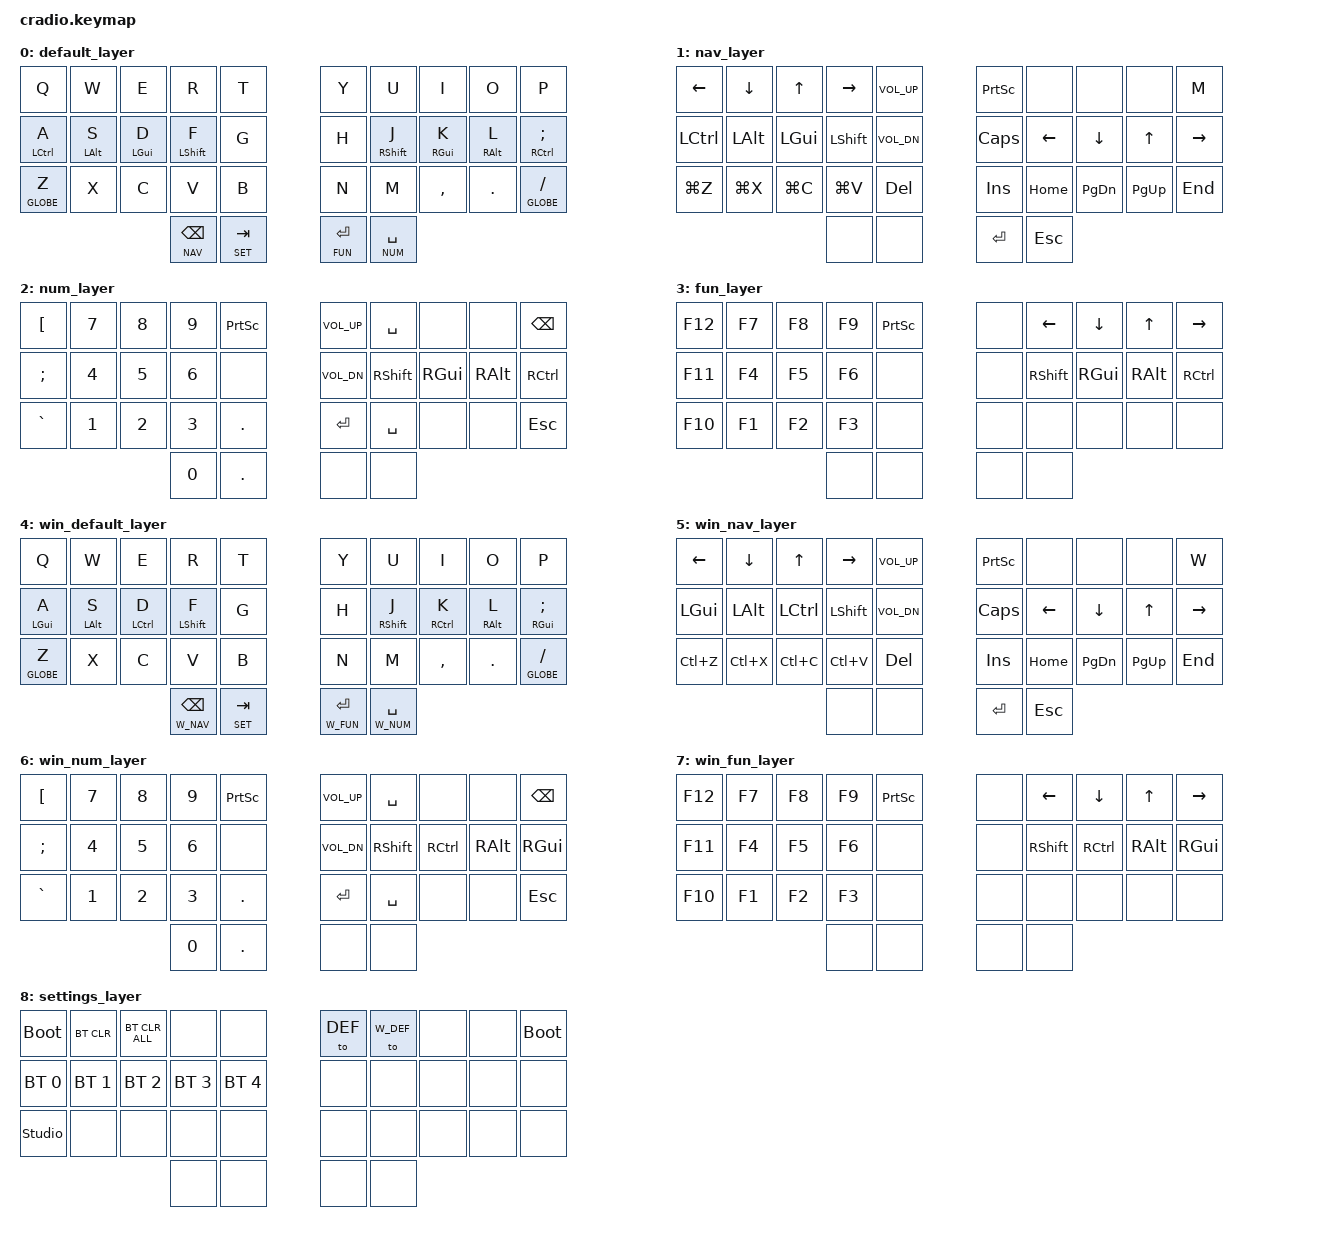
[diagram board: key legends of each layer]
// Copyright (c) 2022 The ZMK Contributors
// SPDX-License-Identifier: MIT

#include <behaviors.dtsi>
#include <dt-bindings/zmk/keys.h>
#include <dt-bindings/zmk/bt.h>
#include <dt-bindings/zmk/outputs.h>

// define layers

#define DEF 0
#define NAV 1
#define NUM 2
#define FUN 3

// windows layers
#define W_DEF 4
#define W_NAV 5
#define W_NUM 6
#define W_FUN 7

// settings layer
#define SET 8

&lt { quick-tap-ms = <219>; };
&mt { quick-tap-ms = <219>; };

/ {
    behaviors {
        hml: home_row_mod_left {
            compatible = "zmk,behavior-hold-tap";
            #binding-cells = <2>;
            flavor = "tap-preferred";
            require-prior-idle-ms = <100>;
            tapping-term-ms = <220>;
            quick-tap-ms = <150>;
            bindings = <&kp>, <&kp>;

            // List of keys on the right side of the keyboard
            hold-trigger-key-positions = <5 6 7 8 9 15 16 17 18 19 25 26 27 28 29 32 33 10 11 12 13 30 31>;
        };

        hmr: home_row_mod_right {
            compatible = "zmk,behavior-hold-tap";
            #binding-cells = <2>;
            flavor = "tap-preferred";
            require-prior-idle-ms = <100>;
            tapping-term-ms = <220>;
            quick-tap-ms = <150>;
            bindings = <&kp>, <&kp>;

            // List of keys on the left side of the keyboard
            hold-trigger-key-positions = <0 1 2 3 4 10 11 12 13 14 20 21 22 23 24 30 31 16 17 18 19 32 33>;
        };
    };

    combos {
        compatible = "zmk,combos";

        ParaLeft {
            bindings = <&kp LEFT_PARENTHESIS>;
            key-positions = <3 4>;
            timeout-ms = <25>;
        };

        ParaRight {
            bindings = <&kp RIGHT_PARENTHESIS>;
            key-positions = <5 6>;
            timeout-ms = <25>;
        };

        BrackLeft {
            bindings = <&kp LEFT_BRACKET>;
            key-positions = <13 14>;
            timeout-ms = <25>;
        };

        BrackRight {
            bindings = <&kp RIGHT_BRACKET>;
            key-positions = <15 16>;
            timeout-ms = <25>;
        };

        BraceLeft {
            bindings = <&kp LEFT_BRACE>;
            key-positions = <23 24>;
            timeout-ms = <25>;
        };

        BraceRight {
            bindings = <&kp RIGHT_BRACE>;
            key-positions = <25 26>;
            timeout-ms = <25>;
        };

        MinusSign {
            bindings = <&kp MINUS>;
            key-positions = <2 3>;
            timeout-ms = <25>;
        };

        PlusSign {
            bindings = <&kp PLUS>;
            key-positions = <1 2>;
            timeout-ms = <25>;
        };

        UnderscoreSign {
            bindings = <&kp UNDERSCORE>;
            key-positions = <1 3>;
            timeout-ms = <25>;
        };

        EqualSign {
            bindings = <&kp EQUAL>;
            key-positions = <1 2 3>;
            timeout-ms = <32>;
        };

        SingleQuote {
            bindings = <&kp SQT>;
            key-positions = <6 7>;
            timeout-ms = <25>;
        };

        DoubleQuote {
            bindings = <&kp DQT>;
            key-positions = <7 8>;
            timeout-ms = <25>;
        };

        GraveSign {
            bindings = <&kp GRAVE>;
            key-positions = <6 8>;
            timeout-ms = <25>;
        };

        TildeSign {
            bindings = <&kp TILDE>;
            key-positions = <6 7 8>;
            timeout-ms = <32>;
        };

        AsteriskSign {
            bindings = <&kp ASTERISK>;
            key-positions = <3 13>;
            timeout-ms = <25>;
        };

        HashSign {
            bindings = <&kp HASH>;
            key-positions = <4 14>;
            timeout-ms = <25>;
        };

        ExclamationSign {
            bindings = <&kp EXCLAMATION>;
            key-positions = <14 24>;
            timeout-ms = <25>;
        };

        BackslashSign {
            bindings = <&kp BACKSLASH>;
            key-positions = <22 23>;
            timeout-ms = <25>;
        };

        AmpersandSign {      
            bindings = <&kp AMPS>;
            key-positions = <6 16>;
            timeout-ms = <25>;
        };

        DollarSign {
            bindings = <&kp DOLLAR>;
            key-positions = <5 15>;
            timeout-ms = <25>;
        };

        AtSign {
            bindings = <&kp AT>;
            key-positions = <15 25>;
            timeout-ms = <25>;
        };

        PipeSign {
            bindings = <&kp PIPE>;
            key-positions = <26 27>;
            timeout-ms = <25>;
        };

        LangLeft {
            bindings = <&kp LC(SPACE)>;
            key-positions = <11 12 13>;
            timeout-ms = <32>;
        };
        LangRight {
            bindings = <&kp RC(SPACE)>;
            key-positions = <16 17 18>;
            timeout-ms = <32>;
        };

        SpotlightLeft {
            bindings = <&kp LG(SPACE)>;
            key-positions = <21 22>;
            timeout-ms = <32>;
        };
        SpotlightRight {
            bindings = <&kp RG(SPACE)>;
            key-positions = <27 28>;
            timeout-ms = <32>;
        };

        EscLeft {
            bindings = <&kp ESC>;
            key-positions = <21 22 23>;
            timeout-ms = <32>;
        };
        EscRight {
            bindings = <&kp ESC>;
            key-positions = <26 27 28>;
            timeout-ms = <32>;
        };

        EscThumbLeft {
            bindings = <&kp ESC>;
            key-positions = <30 31>;
            timeout-ms = <32>;
        };
        EscThumbRight {
            bindings = <&kp ESC>;
            key-positions = <32 33>;
            timeout-ms = <32>;
        };
    };

    keymap {
        compatible = "zmk,keymap";
        // macos layers
        default_layer {
            bindings = <
            // ╭───────────────┬───────────────┬───────────────┬───────────────┬───────────────╮   ╭───────────────┬───────────────┬───────────────┬───────────────┬───────────────╮
                 &kp Q           &kp W           &kp E           &kp R           &kp T               &kp Y           &kp U           &kp I           &kp O           &kp P    
            // ├───────────────┼───────────────┼───────────────┼───────────────┼───────────────┤   ├───────────────┼───────────────┼───────────────┼───────────────┼───────────────┤
                 &hml LCTRL A    &hml LALT S     &hml LGUI D     &hml LSHIFT F   &kp G               &kp H           &hmr RSHIFT J   &hmr RGUI K     &hmr RALT L     &hmr RCTRL SEMI
            // ├───────────────┼───────────────┼───────────────┼───────────────┼───────────────┤   ├───────────────┼───────────────┼───────────────┼───────────────┼───────────────┤
                 &lt GLOBE Z     &kp X           &kp C           &kp V           &kp B               &kp N           &kp M           &kp COMMA       &kp DOT         &lt GLOBE FSLH
            // ╰───────────────┼───────────────┼───────────────┼───────────────┼───────────────┤   ├───────────────┼───────────────┼───────────────┼───────────────┼───────────────╯
                                                                 &lt NAV BSPC    &lt SET TAB         &lt FUN ENTER   &lt NUM SPACE 
            //                                                 ╰───────────────┴───────────────╯   ╰───────────────┴───────────────╯
            >;
        };

        nav_layer {
            bindings = <
            // ╭───────────────┬───────────────┬───────────────┬───────────────┬───────────────╮   ╭───────────────┬───────────────┬───────────────┬───────────────┬───────────────╮
                 &kp LEFT        &kp DOWN        &kp UP          &kp RIGHT       &kp C_VOL_UP        &kp PSCRN       &none           &none           &none           &kp M
            // ├───────────────┼───────────────┼───────────────┼───────────────┼───────────────┤   ├───────────────┼───────────────┼───────────────┼───────────────┼───────────────┤
                 &kp LCTRL       &kp LALT        &kp LGUI        &kp LSHIFT      &kp C_VOL_DN        &kp CAPS        &kp LEFT        &kp DOWN        &kp UP          &kp RIGHT
            // ├───────────────┼───────────────┼───────────────┼───────────────┼───────────────┤   ├───────────────┼───────────────┼───────────────┼───────────────┼───────────────┤
                 &kp LG(Z)       &kp LG(X)       &kp LG(C)       &kp LG(V)       &kp DEL             &kp INS         &kp HOME        &kp PG_DN       &kp PG_UP       &kp END
            // ╰───────────────┼───────────────┼───────────────┼───────────────┼───────────────┤   ├───────────────┼───────────────┼──────────────—┼———————————————┼———————————————╯
                                                                 &none           &none               &kp ENTER       &kp ESC
            //                                                 ╰───────────────┴───────────────╯   ╰───────────────┴───────────────╯
            >;
        };

        num_layer {
            bindings = <
            // ╭───────────────┬───────────────┬───────────────┬───────────────┬───────────────╮   ╭───────────────┬───────────────┬───────────────┬───────────────┬───────────────╮
                 &kp LBKT        &kp N7          &kp N8          &kp N9          &kp PSCRN           &kp C_VOL_UP    &kp SPACE       &none           &none           &kp BSPC
            // ├───────────────┼───────────────┼───────────────┼───────────────┼───────────────┤   ├───────────────┼───────────────┼───────────────┼───────────────┼───────────────┤
                 &kp SEMI        &kp N4          &kp N5          &kp N6          &none               &kp C_VOL_DN    &kp RSHIFT      &kp RGUI        &kp RALT        &kp RCTRL
            // ├───────────────┼───────────────┼───────────────┼───────────────┼───────────────┤   ├───────────────┼───────────────┼───────────────┼───────────────┼───────────────┤
                 &kp GRAVE       &kp N1          &kp N2          &kp N3          &kp DOT             &kp ENTER       &kp SPACE       &none           &none           &kp ESC
            // ╰───────────────┼───────────────┼───────────────┼───────────────┼───────────────┤   ├───────────────┼───────────────┼──────────────—┼———————————————┼———————————————╯
                                                                 &kp N0          &kp DOT             &none           &none
            //                                                 ╰───────────────┴───────────────╯   ╰───────────────┴───────────────╯
            >;
        };

        fun_layer {
            bindings = <
            // ╭───────────────┬───────────────┬───────────────┬───────────────┬───────────────╮   ╭───────────────┬───────────────┬───────────────┬───────────────┬───────────────╮
                 &kp F12         &kp F7          &kp F8          &kp F9          &kp PSCRN           &none           &kp LEFT        &kp DOWN        &kp UP          &kp RIGHT
            // ├───────────────┼───────────────┼───────────────┼───────────────┼───────────────┤   ├───────────────┼───────────────┼───────────────┼───────────────┼───────────────┤
                 &kp F11         &kp F4          &kp F5          &kp F6          &none               &none           &kp RSHIFT      &kp RGUI        &kp RALT        &kp RCTRL
            // ├───────────────┼───────────────┼───────────────┼───────────────┼───────────────┤   ├───────────────┼───────────────┼───────────────┼───────────────┼───────────────┤
                 &kp F10         &kp F1          &kp F2          &kp F3          &none               &none           &none           &none           &none           &none
            // ╰───────────────┼───────────────┼───────────────┼───────────────┼───────────────┤   ├───────────────┼───────────────┼──────────────—┼———————————————┼———————————————╯
                                                                 &none           &none               &none           &none
            //                                                 ╰───────────────┴───────────────╯   ╰───────────────┴───────────────╯
            >;
        };

        win_default_layer {
            bindings = <
            // ╭───────────────┬───────────────┬───────────────┬───────────────┬───────────────╮   ╭───────────────┬───────────────┬───────────────┬───────────────┬───────────────╮
                 &kp Q           &kp W           &kp E           &kp R           &kp T               &kp Y           &kp U           &kp I           &kp O           &kp P         
            // ├───────────────┼───────────────┼───────────────┼───────────────┼───────────────┤   ├───────────────┼───────────────┼───────────────┼───────────────┼───────────────┤
                 &hml LGUI A     &hml LALT S     &hml LCTRL D    &hml LSHIFT F   &kp G               &kp H           &hmr RSHIFT J   &hmr RCTRL K    &hmr RALT L     &hmr RGUI SEMI
            // ├───────────────┼───────────────┼───────────────┼───────────────┼───────────────┤   ├───────────────┼───────────────┼───────────────┼───────────────┼───────────────┤
                 &lt GLOBE Z     &kp X           &kp C           &kp V           &kp B               &kp N           &kp M           &kp COMMA       &kp DOT         &lt GLOBE FSLH
            // ╰───────────────┼───────────────┼───────────────┼───────────────┼───────────────┤   ├───────────────┼───────────────┼──────────────—┼———————————————┼———————————————╯
                                                                 &lt W_NAV BSPC  &lt SET TAB         &lt W_FUN ENTER &lt W_NUM SPACE 
            //                                                 ╰───────────────┴───────────────╯   ╰───────────────┴───────────────╯
            >;
        };

        win_nav_layer {
            bindings = <
            // ╭───────────────┬───────────────┬───────────────┬───────────────┬───────────────╮   ╭───────────────┬───────────────┬───────────────┬───────────────┬───────────────╮
                 &kp LEFT        &kp DOWN        &kp UP          &kp RIGHT       &kp C_VOL_UP        &kp PSCRN       &none           &none           &none           &kp W          
            // ├───────────────┼───────────────┼───────────────┼───────────────┼───────────────┤   ├───────────────┼───────────────┼───────────────┼───────────────┼───────────────┤
                 &kp LGUI        &kp LALT        &kp LCTRL       &kp LSHIFT      &kp C_VOL_DN        &kp CAPS        &kp LEFT        &kp DOWN        &kp UP          &kp RIGHT
            // ├───────────────┼───────────────┼───────────────┼───────────────┼───────────────┤   ├───────────────┼───────────────┼───────────────┼───────────────┼───────────────┤
                 &kp LC(Z)       &kp LC(X)       &kp LC(C)       &kp LC(V)       &kp DEL             &kp INS         &kp HOME        &kp PG_DN       &kp PG_UP       &kp END
            // ╰───────────────┼───────────────┼───────────────┼───────────────┼───────────────┤   ├───────────────┼───────────────┼──────────────—┼———————————————┼———————————————╯
                                                                 &none           &none               &kp ENTER       &kp ESC
            //                                                 ╰───────────────┴───────────────╯   ╰───────────────┴───────────────╯
            >;
        };

        win_num_layer {
            bindings = <
            // ╭───────────────┬───────────────┬───────────────┬───────────────┬───────────────╮   ╭───────────────┬───────────────┬───────────────┬───────────────┬───────────────╮
                 &kp LBKT        &kp N7          &kp N8          &kp N9          &kp PSCRN           &kp C_VOL_UP    &kp SPACE       &none           &none           &kp BSPC          
            // ├───────────────┼───────────────┼───────────────┼───────────────┼───────────────┤   ├───────────────┼───────────────┼───────────────┼───────────────┼───────────────┤
                 &kp SEMI        &kp N4          &kp N5          &kp N6          &none               &kp C_VOL_DN    &kp RSHIFT      &kp RCTRL       &kp RALT        &kp RGUI
            // ├───────────────┼───────────────┼───────────────┼───────────────┼───────────────┤   ├───────────────┼───────────────┼───────────────┼───────────────┼───────────────┤
                 &kp GRAVE       &kp N1          &kp N2          &kp N3          &kp DOT             &kp ENTER       &kp SPACE       &none           &none           &kp ESC
            // ╰───────────────┼───────────────┼───────────────┼───────────────┼───────────────┤   ├───────────────┼───────────────┼──────────────—┼———————————————┼———————————————╯
                                                                 &kp N0          &kp DOT             &none           &none 
            //                                                 ╰───────────────┴───────────────╯   ╰───────────────┴───────────────╯
            >;
        };

        win_fun_layer {
            bindings = <
            // ╭───────────────┬───────────────┬───────────────┬───────────────┬───────────────╮   ╭───────────────┬───────────────┬───────────────┬───────────────┬───────────────╮
                 &kp F12         &kp F7          &kp F8          &kp F9          &kp PSCRN           &none           &kp LEFT        &kp DOWN        &kp UP          &kp RIGHT
            // ├───────────────┼───────────────┼───────────────┼───────────────┼───────────────┤   ├───────────────┼───────────────┼───────────────┼───────────────┼───────────────┤
                 &kp F11         &kp F4          &kp F5          &kp F6          &none               &none           &kp RSHIFT      &kp RCTRL       &kp RALT        &kp RGUI
            // ├───────────────┼───────────────┼───────────────┼───────────────┼───────────────┤   ├───────────────┼───────────────┼───────────────┼───────────────┼───────────────┤
                 &kp F10         &kp F1          &kp F2          &kp F3          &none               &none           &none           &none           &none           &none
            // ╰───────────────┼───────────────┼───────────────┼───────────────┼───────────────┤   ├───────────────┼───────────────┼──────────────—┼———————————————┼———————————————╯
                                                                 &none           &none               &none           &none
            //                                                 ╰───────────────┴───────────────╯   ╰───────────────┴───────────────╯
            >;
        };

        settings_layer {
            bindings = <
            // ╭───────────────┬───────────────┬───────────────┬───────────────┬───────────────╮   ╭───────────────┬───────────────┬───────────────┬───────────────┬───────────────╮
                 &bootloader     &bt BT_CLR      &bt BT_CLR_ALL  &none           &none               &to DEF         &to W_DEF       &none           &none           &bootloader
            // ├───────────────┼───────────────┼───────────────┼───────────────┼───────────────┤   ├───────────────┼───────────────┼───────────────┼───────────────┼───────────────┤
                 &bt BT_SEL 0    &bt BT_SEL 1    &bt BT_SEL 2    &bt BT_SEL 3    &bt BT_SEL 4        &none           &none           &none           &none           &none
            // ├───────────────┼───────────────┼───────────────┼───────────────┼───────────────┤   ├───────────────┼───────────────┼───────────────┼───────────────┼───────────────┤
                 &studio_unlock  &none           &none           &none           &none               &none           &none           &none           &none           &none
            // ╰───────────────┼───────────────┼───────────────┼───────────────┼───────────────┤   ├───────────────┼───────────────┼──────────────—┼———————————————┼———————————————╯
                                                                 &none           &none               &none           &none
            //                                                 ╰───────────────┴───────────────╯   ╰───────────────┴───────────────╯
	    	>;
		};
    };
};
